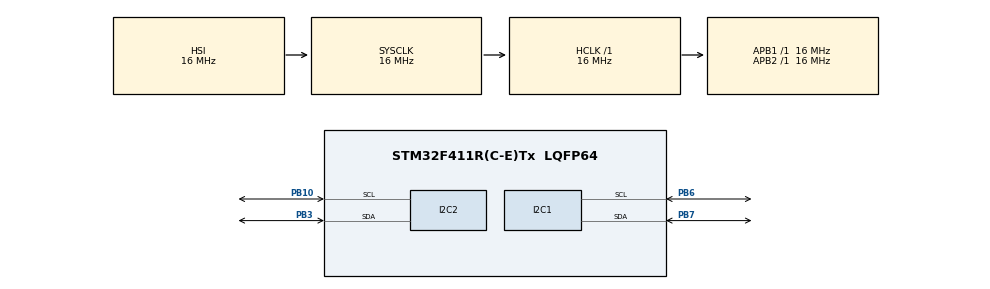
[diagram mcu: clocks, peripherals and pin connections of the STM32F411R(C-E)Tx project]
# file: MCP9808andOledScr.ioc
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Mcu.Family=STM32F4
Mcu.Name=STM32F411R(C-E)Tx
Mcu.Package=LQFP64
NVIC.PriorityGroup=NVIC_PRIORITYGROUP_4
PB10.Mode=I2C
PB10.Signal=I2C2_SCL
PB3.Mode=I2C
PB3.Signal=I2C2_SDA
PB6.Mode=I2C
PB6.Signal=I2C1_SCL
PB7.Mode=I2C
PB7.Signal=I2C1_SDA
ProjectManager.HeapSize=0x200
ProjectManager.StackSize=0x400
ProjectManager.TargetToolchain=STM32CubeIDE
RCC.AHBFreq_Value=16000000
RCC.APB1Freq_Value=16000000
RCC.APB2Freq_Value=16000000
RCC.CortexFreq_Value=16000000
RCC.HSE_VALUE=25000000
RCC.HSI_VALUE=16000000
RCC.LSE_VALUE=32768
RCC.SYSCLKFreq_VALUE=16000000
RCC.VCOOutputFreq_Value=192000000
board=custom

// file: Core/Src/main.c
/* USER CODE BEGIN Header */
/**
  ******************************************************************************
  * @file           : main.c
  * @brief          : Main program body
  ******************************************************************************
  * @attention
  *
  * Copyright (c) 2026 STMicroelectronics.
  * All rights reserved.
  *
  * This software is licensed under terms that can be found in the LICENSE file
  * in the root directory of this software component.
  * If no LICENSE file comes with this software, it is provided AS-IS.
  *
  ******************************************************************************
  */
/* USER CODE END Header */
#include "main.h"

/* USER CODE BEGIN Includes */
#include "ssd1306.h"
#include "ssd1306_fonts.h"
#include <stdio.h>

/* USER CODE END Includes */

/* USER CODE BEGIN PD */
#define MCP9808_ADDR (0x18 << 1)
#define MCP9808_REG_CONFIG 0x01
#define MCP9808_REG_UPPER  0x02
#define MCP9808_REG_LOWER  0x03
#define MCP9808_REG_CRIT   0x04
#define MCP9808_REG_TEMP   0x05

/* USER CODE END PD */

I2C_HandleTypeDef hi2c1;
I2C_HandleTypeDef hi2c2;

/* USER CODE BEGIN PV */
// 32x32 Güneş (Sıcak > 25°C)
const uint8_t sun_32[] = {
	0x00, 0x00, 0x00, 0x00, 0x00, 0x01, 0x80, 0x00, 0x00, 0x03, 0xc0, 0x00, 0x00, 0x07, 0xe0, 0x00,
	0x00, 0x07, 0xe0, 0x00, 0x40, 0x00, 0x00, 0x02, 0x60, 0x00, 0x00, 0x06, 0x30, 0x0f, 0xf0, 0x0c,
	0x18, 0x3f, 0xfc, 0x18, 0x0c, 0x78, 0x1e, 0x30, 0x06, 0x70, 0x0e, 0x60, 0x03, 0xe0, 0x07, 0xc0,
	0x1f, 0xc0, 0x03, 0xf8, 0x1f, 0xc0, 0x03, 0xf8, 0x1f, 0xc0, 0x03, 0xf8, 0x1f, 0xc0, 0x03, 0xf8,
	0x03, 0xe0, 0x07, 0xc0, 0x06, 0x70, 0x0e, 0x60, 0x0c, 0x78, 0x1e, 0x30, 0x18, 0x3f, 0xfc, 0x18,
	0x30, 0x0f, 0xf0, 0x0c, 0x60, 0x00, 0x00, 0x06, 0x40, 0x00, 0x00, 0x02, 0x00, 0x07, 0xe0, 0x00,
	0x00, 0x07, 0xe0, 0x00, 0x00, 0x03, 0xc0, 0x00, 0x00, 0x01, 0x80, 0x00, 0x00, 0x00, 0x00, 0x00,
	0x00, 0x00, 0x00, 0x00, 0x00, 0x00, 0x00, 0x00, 0x00, 0x00, 0x00, 0x00, 0x00, 0x00, 0x00, 0x00
};

// 32x32 Bulut (Ilık 10°C - 25°C)
const uint8_t cloud_32[] = {
	0x00, 0x00, 0x00, 0x00, 0x00, 0x00, 0x00, 0x00, 0x00, 0x00, 0x00, 0x00, 0x00, 0x00, 0x00, 0x00,
	0x00, 0x00, 0x00, 0x00, 0x00, 0x07, 0xe0, 0x00, 0x00, 0x1f, 0xf8, 0x00, 0x00, 0x3f, 0xfc, 0x00,
	0x00, 0x7f, 0xfe, 0x00, 0x00, 0x7f, 0xfe, 0x00, 0x00, 0xff, 0xff, 0x00, 0x07, 0xff, 0xff, 0xf0,
	0x1f, 0xff, 0xff, 0xfc, 0x3f, 0xff, 0xff, 0xfe, 0x7f, 0xff, 0xff, 0xff, 0xff, 0xff, 0xff, 0xff,
	0xff, 0xff, 0xff, 0xff, 0xff, 0xff, 0xff, 0xff, 0xff, 0xff, 0xff, 0xff, 0xff, 0xff, 0xff, 0xff,
	0x7f, 0xff, 0xff, 0xff, 0x3f, 0xff, 0xff, 0xfe, 0x00, 0x00, 0x00, 0x00, 0x00, 0x00, 0x00, 0x00,
	0x00, 0x00, 0x00, 0x00, 0x00, 0x00, 0x00, 0x00, 0x00, 0x00, 0x00, 0x00, 0x00, 0x00, 0x00, 0x00
};

// 32x32 Kardan Adam (Soğuk < 10°C)
const uint8_t snowman_32[] = {
	0x00, 0x07, 0xe0, 0x00, 0x00, 0x07, 0xe0, 0x00, 0x00, 0x3f, 0xfc, 0x00, 0x00, 0x07, 0xe0, 0x00,
	0x00, 0x0f, 0xf0, 0x00, 0x00, 0x1f, 0xf8, 0x00, 0x00, 0x19, 0x98, 0x00, 0x00, 0x1f, 0xf8, 0x00,
	0x00, 0x0f, 0xf0, 0x00, 0x00, 0x3f, 0xfc, 0x00, 0x00, 0x7f, 0xfe, 0x00, 0x00, 0xff, 0xff, 0x00,
	0x01, 0xff, 0xff, 0x80, 0x01, 0xff, 0xff, 0x80, 0x03, 0xff, 0xff, 0xc0, 0x03, 0xff, 0xff, 0xc0,
	0x03, 0xff, 0xff, 0xc0, 0x03, 0xff, 0xff, 0xc0, 0x03, 0xff, 0xff, 0xc0, 0x01, 0xff, 0xff, 0x80,
	0x01, 0xff, 0xff, 0x80, 0x00, 0xff, 0xff, 0x00, 0x00, 0x7f, 0xfe, 0x00, 0x00, 0x3f, 0xfc, 0x00,
	0x00, 0x00, 0x00, 0x00, 0x00, 0x00, 0x00, 0x00, 0x00, 0x00, 0x00, 0x00, 0x00, 0x00, 0x00, 0x00
};
uint8_t mcp_buf[2];      // Sensörden gelen 2 byte veri için
float temperature = 0.0; // İşlenmiş sıcaklık değeri
char display_buf[16];    // Ekranda yazdırılacak metin için
/* USER CODE END PV */

void SystemClock_Config(void);
static void MX_GPIO_Init(void);
static void MX_I2C1_Init(void);
static void MX_I2C2_Init(void);

/* USER CODE BEGIN 0 */
void MCP9808_SetLimits(int8_t low, int8_t up, int8_t crit) {
    uint8_t buf[3];

    buf[0] = MCP9808_REG_LOWER;
    buf[1] = (uint8_t)(low >> 4); // Sıcaklık formatı gereği kaydırma
    buf[2] = (uint8_t)(low << 4);
    HAL_I2C_Master_Transmit(&hi2c1, MCP9808_ADDR, buf, 3, 100);

    buf[0] = MCP9808_REG_UPPER;
    buf[1] = (uint8_t)(up >> 4);
    buf[2] = (uint8_t)(up << 4);
    HAL_I2C_Master_Transmit(&hi2c1, MCP9808_ADDR, buf, 3, 100);

    buf[0] = MCP9808_REG_CRIT;
    buf[1] = (uint8_t)(crit >> 4);
    buf[2] = (uint8_t)(crit << 4);
    HAL_I2C_Master_Transmit(&hi2c1, MCP9808_ADDR, buf, 3, 100);
}

/* USER CODE END 0 */

int main(void)
{

  /* MCU Configuration--------------------------------------------------------*/

  /* Reset of all peripherals, Initializes the Flash interface and the Systick. */
  HAL_Init();

  /* Configure the system clock */
  SystemClock_Config();

  /* Initialize all configured peripherals */
  MX_GPIO_Init();
  MX_I2C1_Init();
  MX_I2C2_Init();
  /* USER CODE BEGIN 2 */
  ssd1306_Init();
  ssd1306_Fill(Black);
  ssd1306_UpdateScreen();

  //Acilis mesaji
  ssd1306_SetCursor(2, 0); //
  ssd1306_WriteString("MCP9808 Hazir", Font_7x10, White);
  ssd1306_UpdateScreen();
  HAL_Delay(1000);
  //Limits
  MCP9808_SetLimits(15, 24, 27);
  /* USER CODE END 2 */

  /* Infinite loop */
  /* USER CODE BEGIN WHILE */
  while (1)
  {
	  // --- 1. MCP9808'DEN VERİ OKUMA ---
	        uint8_t data[2];
	        float current_temp = 0;
	        uint8_t reg = MCP9808_REG_TEMP;
	        uint8_t raw_upper_bits;

	        HAL_I2C_Master_Transmit(&hi2c1, MCP9808_ADDR, &reg, 1, 100);
	        if (HAL_I2C_Master_Receive(&hi2c1, MCP9808_ADDR, data, 2, 100) == HAL_OK) {
	        	raw_upper_bits = data[0] & 0xE0;

	            data[0] = data[0] & 0x1F;
	            if ((data[0] & 0x10) == 0x10) {
	                data[0] = data[0] & 0x0F;
	                current_temp = 256.0 - (data[0] * 16.0 + data[1] / 16.0);
	            } else {
	                current_temp = (data[0] * 16.0 + data[1] / 16.0);
	            }
	        }

	        // --- 2. EKRANI TEMİZLE ---
	        ssd1306_Fill(Black);

	                if (raw_upper_bits & 0x80) { // Bit 15: TA >= TCRIT
	                    ssd1306_SetCursor(50, 2);
	                    ssd1306_WriteString("!!! KRITIK !!!", Font_7x10, White);
	                }
	                else if (raw_upper_bits & 0x40) { // Bit 14: TA > TUPPER
	                    ssd1306_SetCursor(50, 2);
	                    ssd1306_WriteString("YUKSEK ISI!", Font_7x10, White);
	                }
	                else if (raw_upper_bits & 0x20) { // Bit 13: TA < TLOWER
	                    ssd1306_SetCursor(50, 2);
	                    ssd1306_WriteString("DUSUK ISI!", Font_7x10, White);
	                }

	        char temp_text[16];

	        // --- 3. SICAKLIĞA GÖRE SİMGE VE DURUM SEÇİMİ ---
	        const uint8_t* selected_icon;
	        char* status_msg;

	        if (current_temp < 16.0) {
	            selected_icon = snowman_32;
	            status_msg = "SOGUK";
	        }
	        else if (current_temp >= 16.0 && current_temp <= 25.0) {
	            selected_icon = cloud_32;
	            status_msg = "ILIK";
	        }
	        else {
	            selected_icon = sun_32;
	            status_msg = "SICAK";
	        }

	        // --- 4. EKRAN TASARIMI ÇİZİMİ ---

	        // x: 4, y: 16 (32x32 ikon için 64 yüksekliğin ortası)
	        ssd1306_DrawBitmap(4, 16, selected_icon, 32, 32, White);

	        // 3. Durum Metni (Üst sol köşe)
	        ssd1306_SetCursor(4, 2);
	        ssd1306_WriteString(status_msg, Font_7x10, White);

	        // 4. Ayırıcı dikey çizgi (Tasarımı bölmek için)
	        ssd1306_Line(42, 0, 42, 63, White);

	        int int_part = (int)current_temp;
	        int dec_part = (int)((current_temp - int_part) * 10);
	        sprintf(temp_text, "%d.%d °C", int_part, abs(dec_part));

	        ssd1306_SetCursor(50, 25);
	        ssd1306_WriteString(temp_text, Font_11x18, White);

	        ssd1306_SetCursor(105, 25);
	        ssd1306_WriteString("C", Font_11x18, White);
	        ssd1306_SetCursor(100, 20);
	        ssd1306_WriteString("o", Font_7x10, White);

	        // --- 5. GÜNCELLE ---
	        ssd1306_UpdateScreen();

	        HAL_Delay(1000);
    /* USER CODE END WHILE */

  }
}

void SystemClock_Config(void)
{
  RCC_OscInitTypeDef RCC_OscInitStruct = {0};
  RCC_ClkInitTypeDef RCC_ClkInitStruct = {0};

  /** Configure the main internal regulator output voltage
  */
  __HAL_RCC_PWR_CLK_ENABLE();
  __HAL_PWR_VOLTAGESCALING_CONFIG(PWR_REGULATOR_VOLTAGE_SCALE1);

  /** Initializes the RCC Oscillators according to the specified parameters
  * in the RCC_OscInitTypeDef structure.
  */
  RCC_OscInitStruct.OscillatorType = RCC_OSCILLATORTYPE_HSI;
  RCC_OscInitStruct.HSIState = RCC_HSI_ON;
  RCC_OscInitStruct.HSICalibrationValue = RCC_HSICALIBRATION_DEFAULT;
  RCC_OscInitStruct.PLL.PLLState = RCC_PLL_NONE;
  if (HAL_RCC_OscConfig(&RCC_OscInitStruct) != HAL_OK)
  {
    Error_Handler();
  }

  /** Initializes the CPU, AHB and APB buses clocks
  */
  RCC_ClkInitStruct.ClockType = RCC_CLOCKTYPE_HCLK|RCC_CLOCKTYPE_SYSCLK
                              |RCC_CLOCKTYPE_PCLK1|RCC_CLOCKTYPE_PCLK2;
  RCC_ClkInitStruct.SYSCLKSource = RCC_SYSCLKSOURCE_HSI;
  RCC_ClkInitStruct.AHBCLKDivider = RCC_SYSCLK_DIV1;
  RCC_ClkInitStruct.APB1CLKDivider = RCC_HCLK_DIV1;
  RCC_ClkInitStruct.APB2CLKDivider = RCC_HCLK_DIV1;

  if (HAL_RCC_ClockConfig(&RCC_ClkInitStruct, FLASH_LATENCY_0) != HAL_OK)
  {
    Error_Handler();
  }
}

static void MX_I2C1_Init(void)
{

  hi2c1.Instance = I2C1;
  hi2c1.Init.ClockSpeed = 100000;
  hi2c1.Init.DutyCycle = I2C_DUTYCYCLE_2;
  hi2c1.Init.OwnAddress1 = 0;
  hi2c1.Init.AddressingMode = I2C_ADDRESSINGMODE_7BIT;
  hi2c1.Init.DualAddressMode = I2C_DUALADDRESS_DISABLE;
  hi2c1.Init.OwnAddress2 = 0;
  hi2c1.Init.GeneralCallMode = I2C_GENERALCALL_DISABLE;
  hi2c1.Init.NoStretchMode = I2C_NOSTRETCH_DISABLE;
  if (HAL_I2C_Init(&hi2c1) != HAL_OK)
  {
    Error_Handler();
  }

}

static void MX_I2C2_Init(void)
{

  hi2c2.Instance = I2C2;
  hi2c2.Init.ClockSpeed = 100000;
  hi2c2.Init.DutyCycle = I2C_DUTYCYCLE_2;
  hi2c2.Init.OwnAddress1 = 0;
  hi2c2.Init.AddressingMode = I2C_ADDRESSINGMODE_7BIT;
  hi2c2.Init.DualAddressMode = I2C_DUALADDRESS_DISABLE;
  hi2c2.Init.OwnAddress2 = 0;
  hi2c2.Init.GeneralCallMode = I2C_GENERALCALL_DISABLE;
  hi2c2.Init.NoStretchMode = I2C_NOSTRETCH_DISABLE;
  if (HAL_I2C_Init(&hi2c2) != HAL_OK)
  {
    Error_Handler();
  }

}

static void MX_GPIO_Init(void)
{

  /* GPIO Ports Clock Enable */
  __HAL_RCC_GPIOB_CLK_ENABLE();

}

void Error_Handler(void)
{
  __disable_irq();
  while (1)
  {
  }
}
